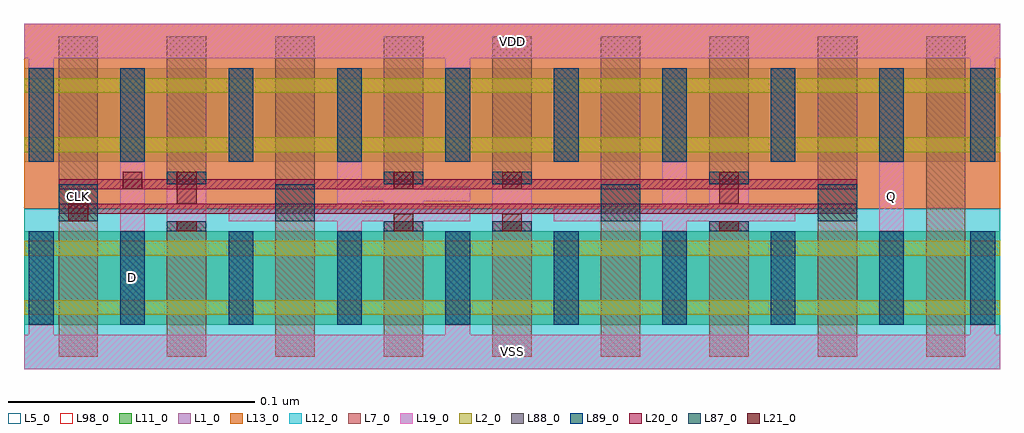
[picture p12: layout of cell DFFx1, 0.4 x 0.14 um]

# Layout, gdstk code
import gdstk
lib = gdstk.Library(unit=1e-6, precision=1e-12)
def R(c, l, rs):  # rectangles x0, y0, x1, y1
    for r in rs: c.add(gdstk.rectangle(r[:2], r[2:], *l))
def A(c, l, x, y, w, h, nx, ny, dx, dy):  # array of equal rectangles
    R(c, l, [(x+i*dx, y+j*dy, x+i*dx+w, y+j*dy+h) for i in range(nx) for j in range(ny)])
L1_0 = (1, 0)
L2_0 = (2, 0)
L5_0 = (5, 0)
L7_0 = (7, 0)
L11_0 = (11, 0)
L12_0 = (12, 0)
L13_0 = (13, 0)
L19_0 = (19, 0)
L20_0 = (20, 0)
L21_0 = (21, 0)
L87_0 = (87, 0)
L88_0 = (88, 0)
L89_0 = (89, 0)
L98_0 = (98, 0)

dffx1 = lib.new_cell('DFFx1')
R(dffx1, L1_0, [(0,0.065,0.396,0.14)])
R(dffx1, L2_0, [(0,0.022,0.396,0.028), (0,0.046,0.396,0.052), (0,0.088,0.396,0.094), (0,0.112,0.396,0.118)])
R(dffx1, L5_0, [(0,0,0.396,0.14)])
R(dffx1, L7_0, [(0.014,0.005,0.03,0.135), (0.058,0.005,0.074,0.06), (0.102,0.005,0.118,0.135), (0.146,0.005,0.162,0.06), (0.19,0.005,0.206,0.06), (0.234,0.005,0.25,0.135), (0.278,0.005,0.294,0.06), (0.322,0.005,0.338,0.135), (0.366,0.005,0.382,0.135), (0.058,0.075,0.074,0.135), (0.146,0.075,0.162,0.135), (0.19,0.075,0.206,0.135), (0.278,0.075,0.294,0.135)])
R(dffx1, L11_0, [(0,0.018,0.396,0.056), (0,0.084,0.396,0.122)])
R(dffx1, L12_0, [(0,0,0.396,0.065)])
R(dffx1, L13_0, [(0,0.065,0.396,0.14)])
R(dffx1, L19_0, [(0,0,0.396,0.014), (0.002,0,0.012,0.018), (0.002,0,0.012,0.018), (0.002,0,0.012,0.018), (0.171,0,0.181,0.018), (0.384,0,0.394,0.018), (0.384,0,0.394,0.018), (0.039,0.056,0.049,0.084), (0.058,0.056,0.074,0.077), (0.127,0.056,0.137,0.084), (0.146,0.056,0.162,0.077), (0.19,0.056,0.206,0.077), (0.259,0.056,0.269,0.084), (0.278,0.056,0.294,0.077), (0.347,0.056,0.357,0.084), (0.083,0.06,0.181,0.066), (0.215,0.06,0.313,0.066), (0.127,0.068,0.181,0.074), (0.002,0.122,0.012,0.14), (0.171,0.122,0.181,0.14), (0.384,0.122,0.394,0.14), (0,0.126,0.396,0.14)])
R(dffx1, L20_0, [(0.014,0.063,0.338,0.067), (0.014,0.073,0.338,0.077)])
R(dffx1, L21_0, [(0.062,0.056,0.07,0.06), (0.15,0.056,0.158,0.063), (0.194,0.056,0.202,0.063), (0.282,0.056,0.29,0.06), (0.018,0.06,0.026,0.067), (0.062,0.067,0.07,0.08), (0.282,0.067,0.29,0.08), (0.04,0.073,0.048,0.08), (0.15,0.073,0.158,0.08), (0.194,0.073,0.202,0.08)])
R(dffx1, L87_0, [(0.058,0.056,0.074,0.06), (0.146,0.056,0.162,0.06), (0.19,0.056,0.206,0.06), (0.278,0.056,0.294,0.06), (0.014,0.06,0.03,0.075), (0.102,0.06,0.118,0.075), (0.234,0.06,0.25,0.075), (0.322,0.06,0.338,0.075), (0.058,0.075,0.074,0.08), (0.146,0.075,0.162,0.08), (0.19,0.075,0.206,0.08), (0.278,0.075,0.294,0.08)])
A(dffx1, L88_0, 0.039, 0.018, 0.01, 0.038, 8, 2, 0.044, 0.066)
R(dffx1, L88_0, [(0.002,0.018,0.012,0.056), (0.384,0.018,0.394,0.056), (0.002,0.084,0.012,0.122), (0.384,0.084,0.394,0.122)])
A(dffx1, L89_0, 0.039, 0.018, 0.01, 0.038, 8, 2, 0.044, 0.066)
R(dffx1, L89_0, [(0.002,0.018,0.012,0.056), (0.384,0.018,0.394,0.056), (0.002,0.084,0.012,0.122), (0.384,0.084,0.394,0.122)])
R(dffx1, L98_0, [(0,0,0.396,0.14)])
dffx1.add(gdstk.Label('D', (0.044,0.037), layer=101, texttype=0))
dffx1.add(gdstk.Label('CLK', (0.022,0.07), layer=101, texttype=0))
dffx1.add(gdstk.Label('Q', (0.352,0.07), layer=101, texttype=0))
dffx1.add(gdstk.Label('VDD', (0.198,0.133), layer=101, texttype=0))
dffx1.add(gdstk.Label('VSS', (0.198,0.007), layer=101, texttype=0))

lib.write_gds('DFFx1.gds')
